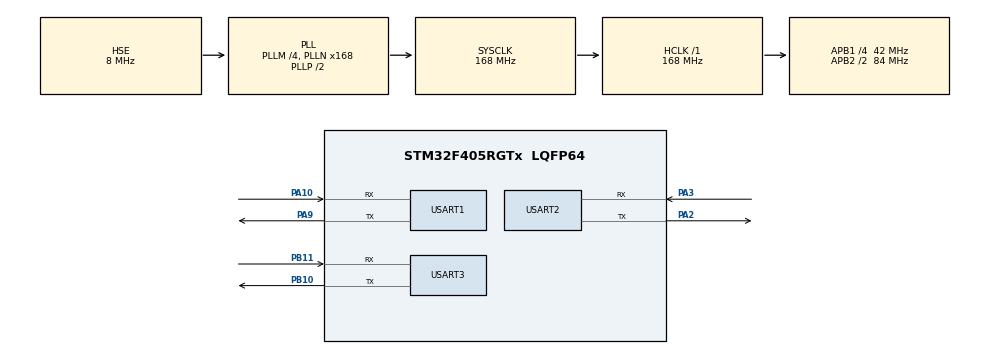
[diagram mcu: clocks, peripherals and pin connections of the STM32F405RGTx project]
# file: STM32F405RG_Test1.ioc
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Dma.Request0=USART3_RX
Dma.Request1=USART3_TX
Dma.Request2=USART2_RX
Dma.Request3=USART2_TX
Dma.USART2_RX.2.Direction=DMA_PERIPH_TO_MEMORY
Dma.USART2_RX.2.FIFOMode=DMA_FIFOMODE_DISABLE
Dma.USART2_RX.2.Instance=DMA1_Stream5
Dma.USART2_RX.2.MemDataAlignment=DMA_MDATAALIGN_BYTE
Dma.USART2_RX.2.MemInc=DMA_MINC_ENABLE
Dma.USART2_RX.2.Mode=DMA_NORMAL
Dma.USART2_RX.2.PeriphDataAlignment=DMA_PDATAALIGN_BYTE
Dma.USART2_RX.2.PeriphInc=DMA_PINC_DISABLE
Dma.USART2_RX.2.Priority=DMA_PRIORITY_HIGH
Dma.USART2_TX.3.Direction=DMA_MEMORY_TO_PERIPH
Dma.USART2_TX.3.FIFOMode=DMA_FIFOMODE_DISABLE
Dma.USART2_TX.3.Instance=DMA1_Stream6
Dma.USART2_TX.3.MemDataAlignment=DMA_MDATAALIGN_BYTE
Dma.USART2_TX.3.MemInc=DMA_MINC_ENABLE
Dma.USART2_TX.3.Mode=DMA_NORMAL
Dma.USART2_TX.3.PeriphDataAlignment=DMA_PDATAALIGN_BYTE
Dma.USART2_TX.3.PeriphInc=DMA_PINC_DISABLE
Dma.USART2_TX.3.Priority=DMA_PRIORITY_HIGH
Dma.USART3_RX.0.Direction=DMA_PERIPH_TO_MEMORY
Dma.USART3_RX.0.FIFOMode=DMA_FIFOMODE_DISABLE
Dma.USART3_RX.0.Instance=DMA1_Stream1
Dma.USART3_RX.0.MemDataAlignment=DMA_MDATAALIGN_BYTE
Dma.USART3_RX.0.MemInc=DMA_MINC_ENABLE
Dma.USART3_RX.0.Mode=DMA_NORMAL
Dma.USART3_RX.0.PeriphDataAlignment=DMA_PDATAALIGN_BYTE
Dma.USART3_RX.0.PeriphInc=DMA_PINC_DISABLE
Dma.USART3_RX.0.Priority=DMA_PRIORITY_VERY_HIGH
Dma.USART3_TX.1.Direction=DMA_MEMORY_TO_PERIPH
Dma.USART3_TX.1.FIFOMode=DMA_FIFOMODE_DISABLE
Dma.USART3_TX.1.Instance=DMA1_Stream3
Dma.USART3_TX.1.MemDataAlignment=DMA_MDATAALIGN_BYTE
Dma.USART3_TX.1.MemInc=DMA_MINC_ENABLE
Dma.USART3_TX.1.Mode=DMA_NORMAL
Dma.USART3_TX.1.PeriphDataAlignment=DMA_PDATAALIGN_BYTE
Dma.USART3_TX.1.PeriphInc=DMA_PINC_DISABLE
Dma.USART3_TX.1.Priority=DMA_PRIORITY_VERY_HIGH
FREERTOS.Tasks01=defaultTask,0,128,StartDefaultTask,Default,NULL,Dynamic,NULL,NULL;USART3_DataProc,-3,128,USART3_DataProcessTask,Default,NULL,Dynamic,NULL,NULL;USART2_DataProc,-3,128,USART2_DataProcessTask,Default,NULL,Dynamic,NULL,NULL
Mcu.Family=STM32F4
Mcu.Name=STM32F405RGTx
Mcu.Package=LQFP64
NVIC.DMA1_Stream1_IRQn=true\:5\:0\:true\:false\:true\:true\:false\:true
NVIC.DMA1_Stream3_IRQn=true\:5\:0\:true\:false\:true\:true\:false\:true
NVIC.DMA1_Stream5_IRQn=true\:5\:0\:true\:false\:true\:true\:false\:true
NVIC.DMA1_Stream6_IRQn=true\:5\:0\:true\:false\:true\:true\:false\:true
NVIC.PriorityGroup=NVIC_PRIORITYGROUP_4
NVIC.TIM1_UP_TIM10_IRQn=true\:0\:0\:false\:false\:true\:false\:false\:true
NVIC.TimeBase=TIM1_UP_TIM10_IRQn
NVIC.TimeBaseIP=TIM1
NVIC.USART2_IRQn=true\:5\:0\:true\:false\:true\:true\:true\:true
NVIC.USART3_IRQn=true\:5\:0\:true\:false\:true\:false\:true\:true
PA10.Mode=Asynchronous
PA10.Signal=USART1_RX
PA13.Mode=Serial_Wire
PA13.Signal=SYS_JTMS-SWDIO
PA14.Mode=Serial_Wire
PA14.Signal=SYS_JTCK-SWCLK
PA2.Mode=Asynchronous
PA2.Signal=USART2_TX
PA3.Mode=Asynchronous
PA3.Signal=USART2_RX
PA9.Mode=Asynchronous
PA9.Signal=USART1_TX
PB10.Mode=Asynchronous
PB10.Signal=USART3_TX
PB11.Mode=Asynchronous
PB11.Signal=USART3_RX
PH0-OSC_IN.Mode=HSE-External-Oscillator
PH0-OSC_IN.Signal=RCC_OSC_IN
PH1-OSC_OUT.Mode=HSE-External-Oscillator
PH1-OSC_OUT.Signal=RCC_OSC_OUT
ProjectManager.HeapSize=0x200
ProjectManager.StackSize=0x400
ProjectManager.TargetToolchain=MDK-ARM V5
RCC.48MHZClocksFreq_Value=84000000
RCC.AHBFreq_Value=168000000
RCC.APB1CLKDivider=RCC_HCLK_DIV4
RCC.APB1Freq_Value=42000000
RCC.APB1TimFreq_Value=84000000
RCC.APB2CLKDivider=RCC_HCLK_DIV2
RCC.APB2Freq_Value=84000000
RCC.APB2TimFreq_Value=168000000
RCC.CortexFreq_Value=168000000
RCC.HCLKFreq_Value=168000000
RCC.HSE_VALUE=8000000
RCC.HSI_VALUE=16000000
RCC.LSE_VALUE=32768
RCC.PLLM=4
RCC.PLLN=168
RCC.PLLSourceVirtual=RCC_PLLSOURCE_HSE
RCC.SYSCLKFreq_VALUE=168000000
RCC.SYSCLKSource=RCC_SYSCLKSOURCE_PLLCLK
RCC.VCOOutputFreq_Value=336000000
USART1.VirtualMode=VM_ASYNC
USART2.VirtualMode=VM_ASYNC
USART3.VirtualMode=VM_ASYNC
VP_FREERTOS_VS_CMSIS_V1.Mode=CMSIS_V1
VP_SYS_VS_tim1.Mode=TIM1
board=custom

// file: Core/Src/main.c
/* USER CODE BEGIN Header */
/**
  ******************************************************************************
  * @file           : main.c
  * @brief          : Main program body
  ******************************************************************************
  * @attention
  *
  * <h2><center>&copy; Copyright (c) 2021 STMicroelectronics.
  * All rights reserved.</center></h2>
  *
  * This software component is licensed by ST under Ultimate Liberty license
  * SLA0044, the "License"; You may not use this file except in compliance with
  * the License. You may obtain a copy of the License at:
  *                             www.st.com/SLA0044
  *
  ******************************************************************************
  */
/* USER CODE END Header */
#include "main.h"
#include "cmsis_os.h"
#include "dma.h"
#include "usart.h"
#include "gpio.h"

/* USER CODE BEGIN Includes */
#include <stdio.h>
/* USER CODE END Includes */

void SystemClock_Config(void);
void MX_FREERTOS_Init(void);

int main(void)
{

  /* MCU Configuration--------------------------------------------------------*/

  /* Reset of all peripherals, Initializes the Flash interface and the Systick. */
  HAL_Init();

  /* Configure the system clock */
  SystemClock_Config();

  /* Initialize all configured peripherals */
  MX_GPIO_Init();
  MX_DMA_Init();
  MX_USART1_UART_Init();
  MX_USART3_UART_Init();
  MX_USART2_UART_Init();
  /* USER CODE BEGIN 2 */

  printf("System init ok\r\n");
  /* USER CODE END 2 */

  /* Call init function for freertos objects (in freertos.c) */
  MX_FREERTOS_Init();
  /* Start scheduler */
  osKernelStart();

  /* We should never get here as control is now taken by the scheduler */
  /* Infinite loop */
  while (1)
  {

  }
}

void SystemClock_Config(void)
{
  RCC_OscInitTypeDef RCC_OscInitStruct = {0};
  RCC_ClkInitTypeDef RCC_ClkInitStruct = {0};

  /** Configure the main internal regulator output voltage
  */
  __HAL_RCC_PWR_CLK_ENABLE();
  __HAL_PWR_VOLTAGESCALING_CONFIG(PWR_REGULATOR_VOLTAGE_SCALE1);
  /** Initializes the RCC Oscillators according to the specified parameters
  * in the RCC_OscInitTypeDef structure.
  */
  RCC_OscInitStruct.OscillatorType = RCC_OSCILLATORTYPE_HSE;
  RCC_OscInitStruct.HSEState = RCC_HSE_ON;
  RCC_OscInitStruct.PLL.PLLState = RCC_PLL_ON;
  RCC_OscInitStruct.PLL.PLLSource = RCC_PLLSOURCE_HSE;
  RCC_OscInitStruct.PLL.PLLM = 4;
  RCC_OscInitStruct.PLL.PLLN = 168;
  RCC_OscInitStruct.PLL.PLLP = RCC_PLLP_DIV2;
  RCC_OscInitStruct.PLL.PLLQ = 4;
  if (HAL_RCC_OscConfig(&RCC_OscInitStruct) != HAL_OK)
  {
    Error_Handler();
  }
  /** Initializes the CPU, AHB and APB buses clocks
  */
  RCC_ClkInitStruct.ClockType = RCC_CLOCKTYPE_HCLK|RCC_CLOCKTYPE_SYSCLK
                              |RCC_CLOCKTYPE_PCLK1|RCC_CLOCKTYPE_PCLK2;
  RCC_ClkInitStruct.SYSCLKSource = RCC_SYSCLKSOURCE_PLLCLK;
  RCC_ClkInitStruct.AHBCLKDivider = RCC_SYSCLK_DIV1;
  RCC_ClkInitStruct.APB1CLKDivider = RCC_HCLK_DIV4;
  RCC_ClkInitStruct.APB2CLKDivider = RCC_HCLK_DIV2;

  if (HAL_RCC_ClockConfig(&RCC_ClkInitStruct, FLASH_LATENCY_5) != HAL_OK)
  {
    Error_Handler();
  }
}

void HAL_TIM_PeriodElapsedCallback(TIM_HandleTypeDef *htim)
{
  if (htim->Instance == TIM1) {
    HAL_IncTick();
  }
}

void Error_Handler(void)
{
}

/************************ (C) COPYRIGHT STMicroelectronics *****END OF FILE****/

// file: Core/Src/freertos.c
/* USER CODE BEGIN Header */
/**
  ******************************************************************************
  * File Name          : freertos.c
  * Description        : Code for freertos applications
  ******************************************************************************
  * @attention
  *
  * <h2><center>&copy; Copyright (c) 2021 STMicroelectronics.
  * All rights reserved.</center></h2>
  *
  * This software component is licensed by ST under Ultimate Liberty license
  * SLA0044, the "License"; You may not use this file except in compliance with
  * the License. You may obtain a copy of the License at:
  *                             www.st.com/SLA0044
  *
  ******************************************************************************
  */
/* USER CODE END Header */

#include "FreeRTOS.h"
#include "task.h"
#include "main.h"
#include "cmsis_os.h"

/* USER CODE BEGIN Includes */
#include <stdio.h>
#include "usart.h"
#include "usart2_lcd.h"

/* USER CODE END Includes */

/* USER CODE BEGIN Variables */
/* USER CODE BEGIN Variables */

#define MAIL_SIZE        (uint32_t) 4

typedef struct {
   uint16_t DataLength;
	 uint8_t *DataReceive;
} Amail_TypeDef;

osMailQId USART2_MailId;  //创建串口2邮箱信息
osMailQId USART3_MailId;

/* USER CODE END Variables */
osThreadId defaultTaskHandle;
osThreadId USART3_DataProcHandle;
osThreadId USART2_DataProcHandle;

void StartDefaultTask(void const * argument);
void USART3_DataProcessTask(void const * argument);
void USART2_DataProcessTask(void const * argument);

void MX_FREERTOS_Init(void); /* (MISRA C 2004 rule 8.1) */

/* GetIdleTaskMemory prototype (linked to static allocation support) */
void vApplicationGetIdleTaskMemory( StaticTask_t **ppxIdleTaskTCBBuffer, StackType_t **ppxIdleTaskStackBuffer, uint32_t *pulIdleTaskStackSize );

/* USER CODE BEGIN GET_IDLE_TASK_MEMORY */
static StaticTask_t xIdleTaskTCBBuffer;
static StackType_t xIdleStack[configMINIMAL_STACK_SIZE];

void vApplicationGetIdleTaskMemory( StaticTask_t **ppxIdleTaskTCBBuffer, StackType_t **ppxIdleTaskStackBuffer, uint32_t *pulIdleTaskStackSize )
{
  *ppxIdleTaskTCBBuffer = &xIdleTaskTCBBuffer;
  *ppxIdleTaskStackBuffer = &xIdleStack[0];
  *pulIdleTaskStackSize = configMINIMAL_STACK_SIZE;
  /* place for user code */
}
/* USER CODE END GET_IDLE_TASK_MEMORY */

void MX_FREERTOS_Init(void) {

  /* USER CODE BEGIN RTOS_QUEUES */
  /* add queues, ... */

  //初始化串口2消息邮箱的ID号
  osMailQDef(Usart2MailId, MAIL_SIZE, Amail_TypeDef); /* Define mail queue */
  USART2_MailId = osMailCreate(osMailQ(Usart2MailId), NULL); /* create mail queue */

  osMailQDef(Usart3MailId, MAIL_SIZE, Amail_TypeDef); /* Define mail queue */
  USART3_MailId = osMailCreate(osMailQ(Usart3MailId), NULL); /* create mail queue */

  /* USER CODE END RTOS_QUEUES */

  /* Create the thread(s) */
  /* definition and creation of defaultTask */
  osThreadDef(defaultTask, StartDefaultTask, osPriorityNormal, 0, 128);
  defaultTaskHandle = osThreadCreate(osThread(defaultTask), NULL);

  /* definition and creation of USART3_DataProc */
  osThreadDef(USART3_DataProc, USART3_DataProcessTask, osPriorityIdle, 0, 128);
  USART3_DataProcHandle = osThreadCreate(osThread(USART3_DataProc), NULL);

  /* definition and creation of USART2_DataProc */
  osThreadDef(USART2_DataProc, USART2_DataProcessTask, osPriorityIdle, 0, 128);
  USART2_DataProcHandle = osThreadCreate(osThread(USART2_DataProc), NULL);

}

void StartDefaultTask(void const * argument)
{
  for(;;)
  {
    osDelay(1);
  }
}

void USART3_DataProcessTask(void const * argument)
{
  /* USER CODE BEGIN USART3_DataProcessTask */

  /* Infinite loop */
  osEvent USART3_Event;
  Amail_TypeDef *USART3_RxMail;

  static uint8_t *USART3_RxBuff;
  static uint8_t USART3_RxLength = 0;

  USART3_RxBuff = pvPortMalloc(256);
  BSP_USART3_Init();
  for(;;)
  {
    USART3_Event = osMailGet(USART3_MailId, 0);   //等待邮箱发送数据
		if(USART3_Event.status == osEventMail)
		{
		  USART3_RxMail = USART3_Event.value.p;     //获取邮箱中的数据

			USART3_RxLength = USART3_RxMail->DataLength;
			USART3_RxBuff = USART3_RxMail->DataReceive;
			osMailFree(USART3_MailId, USART3_RxMail);  //释放在串口空闲中断中申请的邮箱内存

      printf("Usart3 Receive Data len：%d\r\n",USART3_RxLength);
      BSP_USART3_SendData(USART3_RxBuff,USART3_RxLength);
			for(uint8_t i=0;i<USART3_RxLength;i++)
			{
				printf("%x\r\n",USART3_RxBuff[i]);
			}
		}
    osDelay(1);
  }
  /* USER CODE END USART3_DataProcessTask */
}

void USART2_DataProcessTask(void const * argument)
{

  /* USER CODE BEGIN USART2_DataProcessTask */
  /* Infinite loop */
  osEvent USART2_Event;
	Amail_TypeDef *USART2_RxMail;

	static uint8_t *USART2_RxBuff;
	static uint8_t USART2_RxLength = 0;

	USART2_RxBuff = pvPortMalloc(256);
  BSP_USART2_Init();
  for(;;)
  {
    USART2_Event = osMailGet(USART2_MailId, 0);   //等待邮箱发送数据
		if(USART2_Event.status == osEventMail)
		{
		  USART2_RxMail = USART2_Event.value.p;     //获取邮箱中的数据

			USART2_RxLength = USART2_RxMail->DataLength;
			USART2_RxBuff = USART2_RxMail->DataReceive;
			osMailFree(USART2_MailId, USART2_RxMail);  //释放在串口空闲中断中申请的邮箱内存

      printf("Usart2 Receive Data len：%d\r\n",USART2_RxLength);
      BSP_USART2_SendData(USART2_RxBuff,USART2_RxLength);
      Hand_Lcd_Data(USART2_RxBuff,USART2_RxLength);
			for(uint8_t i=0;i<USART2_RxLength;i++)
			{
				printf("%x\r\n",USART2_RxBuff[i]);
			}
     }
     osDelay(1);
  }
  /* USER CODE END USART2_DataProcessTask */
}

/************************ (C) COPYRIGHT STMicroelectronics *****END OF FILE****/
